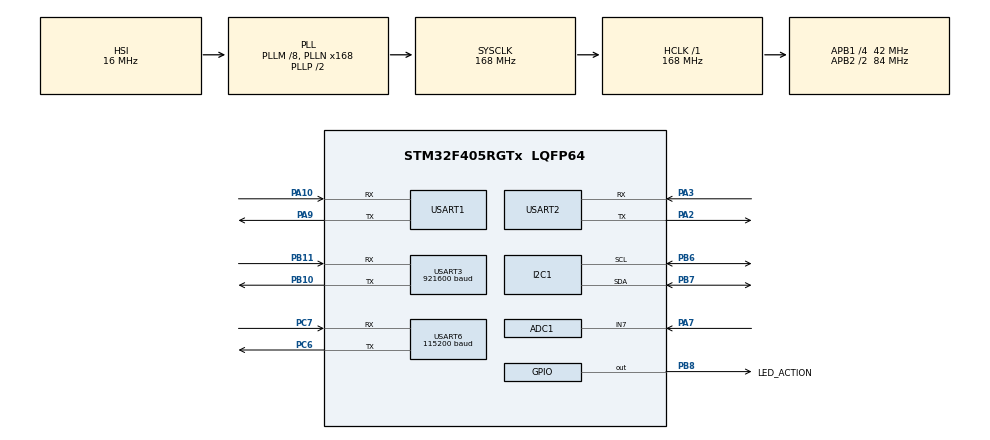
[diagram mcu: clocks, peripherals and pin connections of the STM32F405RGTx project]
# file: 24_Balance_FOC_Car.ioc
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ADC1.Channel-0\#ChannelRegularConversion=ADC_CHANNEL_7
ADC1.NbrOfConversionFlag=1
ADC1.Rank-0\#ChannelRegularConversion=1
ADC1.SamplingTime-0\#ChannelRegularConversion=ADC_SAMPLETIME_3CYCLES
ADC1.master=1
FREERTOS.Tasks01=PID_Ctrl_Task,25,128,PIDCtrl_Task,Default,NULL,Dynamic,NULL,NULL;UART_Rx_Task,24,128,UARTRx_Task,Default,NULL,Dynamic,NULL,NULL;Detect_Task,24,128,DetectTask,Default,NULL,Dynamic,NULL,NULL;LED_Task,24,128,LEDTask,Default,NULL,Dynamic,NULL,NULL
FREERTOS.configENABLE_FPU=1
FREERTOS.configTOTAL_HEAP_SIZE=15360
FREERTOS.configUSE_NEWLIB_REENTRANT=0
Mcu.Family=STM32F4
Mcu.Name=STM32F405RGTx
Mcu.Package=LQFP64
NVIC.PriorityGroup=NVIC_PRIORITYGROUP_4
NVIC.TIM2_IRQn=true\:5\:0\:false\:false\:true\:true\:true\:true\:true
NVIC.TIM4_IRQn=true\:15\:0\:false\:false\:true\:false\:false\:true\:true
NVIC.TimeBase=TIM4_IRQn
NVIC.TimeBaseIP=TIM4
NVIC.USART1_IRQn=true\:5\:0\:false\:false\:true\:true\:true\:true\:true
NVIC.USART2_IRQn=true\:5\:0\:false\:false\:true\:true\:true\:true\:true
NVIC.USART3_IRQn=true\:5\:0\:false\:false\:true\:true\:true\:true\:true
NVIC.USART6_IRQn=true\:5\:0\:false\:false\:true\:true\:true\:true\:true
PA10.Mode=Asynchronous
PA10.Signal=USART1_RX
PA13.Mode=Serial_Wire
PA13.Signal=SYS_JTMS-SWDIO
PA14.Mode=Serial_Wire
PA14.Signal=SYS_JTCK-SWCLK
PA2.Mode=Asynchronous
PA2.Signal=USART2_TX
PA3.Mode=Asynchronous
PA3.Signal=USART2_RX
PA7.Signal=ADCx_IN7
PA9.Mode=Asynchronous
PA9.Signal=USART1_TX
PB10.Mode=Asynchronous
PB10.Signal=USART3_TX
PB11.Mode=Asynchronous
PB11.Signal=USART3_RX
PB6.Mode=I2C
PB6.Signal=I2C1_SCL
PB7.Mode=I2C
PB7.Signal=I2C1_SDA
PB8.GPIO_Label=LED_ACTION
PB8.PinState=GPIO_PIN_RESET
PB8.Signal=GPIO_Output
PC6.Mode=Asynchronous
PC6.Signal=USART6_TX
PC7.Mode=Asynchronous
PC7.Signal=USART6_RX
PH0-OSC_IN.Mode=HSE-External-Oscillator
PH0-OSC_IN.Signal=RCC_OSC_IN
PH1-OSC_OUT.Mode=HSE-External-Oscillator
PH1-OSC_OUT.Signal=RCC_OSC_OUT
ProjectManager.HeapSize=0x200
ProjectManager.StackSize=0x400
ProjectManager.TargetToolchain=MDK-ARM V5
RCC.48MHZClocksFreq_Value=84000000
RCC.AHBFreq_Value=168000000
RCC.APB1CLKDivider=RCC_HCLK_DIV4
RCC.APB1Freq_Value=42000000
RCC.APB1TimFreq_Value=84000000
RCC.APB2CLKDivider=RCC_HCLK_DIV2
RCC.APB2Freq_Value=84000000
RCC.APB2TimFreq_Value=168000000
RCC.CortexFreq_Value=168000000
RCC.HCLKFreq_Value=168000000
RCC.HSE_VALUE=8000000
RCC.HSI_VALUE=16000000
RCC.LSE_VALUE=32768
RCC.PLLM=8
RCC.PLLN=168
RCC.SYSCLKFreq_VALUE=168000000
RCC.SYSCLKSource=RCC_SYSCLKSOURCE_PLLCLK
RCC.VCOOutputFreq_Value=336000000
SH.ADCx_IN7.0=ADC1_IN7,IN7
TIM2.Period=1000-1
TIM2.Prescaler=8400-1
USART1.VirtualMode=VM_ASYNC
USART2.VirtualMode=VM_ASYNC
USART3.BaudRate=921600
USART3.VirtualMode=VM_ASYNC
USART6.BaudRate=115200
USART6.VirtualMode=VM_ASYNC
VP_FREERTOS_VS_CMSIS_V2.Mode=CMSIS_V2
VP_SYS_VS_tim4.Mode=TIM4
VP_TIM2_VS_ClockSourceINT.Mode=Internal
board=custom

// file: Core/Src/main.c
/* USER CODE BEGIN Header */
/**
 ******************************************************************************
 * @file           : main.c
 * @brief          : Main program body
 ******************************************************************************
 * @attention
 *
 * Copyright (c) 2024 STMicroelectronics.
 * All rights reserved.
 *
 * This software is licensed under terms that can be found in the LICENSE file
 * in the root directory of this software component.
 * If no LICENSE file comes with this software, it is provided AS-IS.
 *
 ******************************************************************************
 */
/* USER CODE END Header */
#include "main.h"
#include "cmsis_os.h"
#include "adc.h"
#include "i2c.h"
#include "tim.h"
#include "usart.h"
#include "gpio.h"

/* USER CODE BEGIN Includes */
#ifdef CLION_COMPILER_FLAG
#include "retarget.h"
#endif

#include "app_control.h"
#include "app_bluetooth.h"
#include "bsp_battry.h"
#include "bsp_bluetooth.h"
#include "bsp_dmp.h"
#include "bsp_esp32.h"
#include "bsp_hmc5883.h"
#include "bsp_mpu6050.h"
#include "bsp_x3.h"
#include "stdio.h"

/* USER CODE END Includes */

/* USER CODE BEGIN PV */
SYSTEM_TYPE_DEF sys;

uint8_t uart1_rxdat = 0;
uint8_t uart1_rxdata[UART_BUF_MAX] = {0};
uint8_t uart1_rxpointer = 0;

uint8_t uart2_rxdat = 0;
uint8_t uart2_rxdata[UART_BUF_MAX] = {0};
uint8_t uart2_rxpointer = 0;

uint8_t uart3_rxdat;
uint8_t uart3_rxdata[UART_BUF_MAX] = {0};
uint8_t uart3_rxpointer = 0;

uint8_t uart6_rxdat = 0;
uint8_t uart6_rxdata[UART_BUF_MAX] = {0};
uint8_t uart6_rxpointer = 0;

/* USER CODE END PV */

void SystemClock_Config(void);
void MX_FREERTOS_Init(void);

/* USER CODE BEGIN 0 */
void System_Init(void);
/* USER CODE END 0 */

int main(void)
{

  /* MCU Configuration--------------------------------------------------------*/

  /* Reset of all peripherals, Initializes the Flash interface and the Systick. */
  HAL_Init();

  /* Configure the system clock */
  SystemClock_Config();

  /* Initialize all configured peripherals */
  MX_GPIO_Init();
  MX_I2C1_Init();
  MX_USART2_UART_Init();
  MX_USART1_UART_Init();
  MX_ADC1_Init();
  MX_USART3_UART_Init();
  MX_USART6_UART_Init();
  MX_TIM2_Init();
  /* USER CODE BEGIN 2 */

#ifdef CLION_COMPILER_FLAG
//  RetargetInit(&huart6); // �ض������׵�������
#endif

    HAL_TIM_Base_Start_IT(&htim2);
    HAL_UART_Receive_IT(&huart1, &uart1_rxdat, 1);
    HAL_UART_Receive_IT(&huart2, &uart2_rxdat, 1);
    HAL_UART_Receive_IT(&huart3, &uart3_rxdat, 1);
    HAL_UART_Receive_IT(&huart6, &uart6_rxdat, 1);
    System_Init();

    Init_HMC5883L_HAL(&hi2c1);
    MPU6050_Init();
    PID_Init();

    Set_Motor_Torque(MOTOR0,0);
    Set_Motor_Torque(MOTOR1,0);

  /* USER CODE END 2 */

  /* Init scheduler */
  osKernelInitialize();

  /* Call init function for freertos objects (in cmsis_os2.c) */
  MX_FREERTOS_Init();

  /* Start scheduler */
  osKernelStart();

  /* We should never get here as control is now taken by the scheduler */

  /* Infinite loop */
  while (1) {

  }
}

void SystemClock_Config(void)
{
  RCC_OscInitTypeDef RCC_OscInitStruct = {0};
  RCC_ClkInitTypeDef RCC_ClkInitStruct = {0};

  /** Configure the main internal regulator output voltage
  */
  __HAL_RCC_PWR_CLK_ENABLE();
  __HAL_PWR_VOLTAGESCALING_CONFIG(PWR_REGULATOR_VOLTAGE_SCALE1);

  /** Initializes the RCC Oscillators according to the specified parameters
  * in the RCC_OscInitTypeDef structure.
  */
  RCC_OscInitStruct.OscillatorType = RCC_OSCILLATORTYPE_HSI;
  RCC_OscInitStruct.HSIState = RCC_HSI_ON;
  RCC_OscInitStruct.HSICalibrationValue = RCC_HSICALIBRATION_DEFAULT;
  RCC_OscInitStruct.PLL.PLLState = RCC_PLL_ON;
  RCC_OscInitStruct.PLL.PLLSource = RCC_PLLSOURCE_HSI;
  RCC_OscInitStruct.PLL.PLLM = 8;
  RCC_OscInitStruct.PLL.PLLN = 168;
  RCC_OscInitStruct.PLL.PLLP = RCC_PLLP_DIV2;
  RCC_OscInitStruct.PLL.PLLQ = 4;
  if (HAL_RCC_OscConfig(&RCC_OscInitStruct) != HAL_OK)
  {
    Error_Handler();
  }

  /** Initializes the CPU, AHB and APB buses clocks
  */
  RCC_ClkInitStruct.ClockType = RCC_CLOCKTYPE_HCLK|RCC_CLOCKTYPE_SYSCLK
                              |RCC_CLOCKTYPE_PCLK1|RCC_CLOCKTYPE_PCLK2;
  RCC_ClkInitStruct.SYSCLKSource = RCC_SYSCLKSOURCE_PLLCLK;
  RCC_ClkInitStruct.AHBCLKDivider = RCC_SYSCLK_DIV1;
  RCC_ClkInitStruct.APB1CLKDivider = RCC_HCLK_DIV4;
  RCC_ClkInitStruct.APB2CLKDivider = RCC_HCLK_DIV2;

  if (HAL_RCC_ClockConfig(&RCC_ClkInitStruct, FLASH_LATENCY_5) != HAL_OK)
  {
    Error_Handler();
  }
}

/* USER CODE BEGIN 4 */

int fputc(int c, FILE * stream)
{
  HAL_UART_Transmit(&huart6, (uint8_t*)&c,1,10);
  return 1;
}

/* USER CODE END 4 */

void HAL_TIM_PeriodElapsedCallback(TIM_HandleTypeDef *htim)
{
  if (htim->Instance == TIM4) {
    HAL_IncTick();
  }
}

void Error_Handler(void)
{
  __disable_irq();
  while (1) {
  }
}

#ifdef  USE_FULL_ASSERT
/**
  * @brief  Reports the name of the source file and the source line number
  *         where the assert_param error has occurred.
  * @param  file: pointer to the source file name
  * @param  line: assert_param error line source number
  * @retval None
  */
void assert_failed(uint8_t *file, uint32_t line)
{
  /* USER CODE BEGIN 6 */
  /* User can add his own implementation to report the file name and line
     number, ex: printf("Wrong parameters value: file %s on line %d\r\n", file,
     line) */
  /* USER CODE END 6 */
}
#endif /* USE_FULL_ASSERT */

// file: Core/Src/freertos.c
/* USER CODE BEGIN Header */
/**
 ******************************************************************************
 * File Name          : freertos.c
 * Description        : Code for freertos applications
 ******************************************************************************
 * @attention
 *
 * Copyright (c) 2024 STMicroelectronics.
 * All rights reserved.
 *
 * This software is licensed under terms that can be found in the LICENSE file
 * in the root directory of this software component.
 * If no LICENSE file comes with this software, it is provided AS-IS.
 *
 ******************************************************************************
 */
/* USER CODE END Header */

#include "FreeRTOS.h"
#include "task.h"
#include "main.h"
#include "cmsis_os.h"

/* USER CODE BEGIN Includes */
#include "app_control.h"
#include "app_bluetooth.h"
#include "bsp_battry.h"
#include "bsp_dmp.h"
#include "bsp_esp32.h"
#include "bsp_hmc5883.h"
#include "bsp_mpu6050.h"
#include "bsp_bluetooth.h"
#include "bsp_x3.h"

#include "stdio.h"
/* USER CODE END Includes */

/* USER CODE BEGIN PD */

#define VELOCITY_DEBUG    // 不等待电机自检完成
#define YAW_ONLY_USE_MPU    // 只使用MPU6050获取Yaw角

/* USER CODE END PD */

/* Definitions for PID_Ctrl_Task */
osThreadId_t PID_Ctrl_TaskHandle;
const osThreadAttr_t PID_Ctrl_Task_attributes = {
  .name = "PID_Ctrl_Task",
  .stack_size = 128 * 4,
  .priority = (osPriority_t) osPriorityNormal1,
};
/* Definitions for UART_Rx_Task */
osThreadId_t UART_Rx_TaskHandle;
const osThreadAttr_t UART_Rx_Task_attributes = {
  .name = "UART_Rx_Task",
  .stack_size = 128 * 4,
  .priority = (osPriority_t) osPriorityNormal,
};
/* Definitions for Detect_Task */
osThreadId_t Detect_TaskHandle;
const osThreadAttr_t Detect_Task_attributes = {
  .name = "Detect_Task",
  .stack_size = 128 * 4,
  .priority = (osPriority_t) osPriorityNormal,
};
/* Definitions for LED_Task */
osThreadId_t LED_TaskHandle;
const osThreadAttr_t LED_Task_attributes = {
  .name = "LED_Task",
  .stack_size = 128 * 4,
  .priority = (osPriority_t) osPriorityNormal,
};

void PIDCtrl_Task(void *argument);
void UARTRx_Task(void *argument);
void DetectTask(void *argument);
void LEDTask(void *argument);

void MX_FREERTOS_Init(void); /* (MISRA C 2004 rule 8.1) */

void MX_FREERTOS_Init(void) {

  /* Create the thread(s) */
  /* creation of PID_Ctrl_Task */
  PID_Ctrl_TaskHandle = osThreadNew(PIDCtrl_Task, NULL, &PID_Ctrl_Task_attributes);

  /* creation of UART_Rx_Task */
  UART_Rx_TaskHandle = osThreadNew(UARTRx_Task, NULL, &UART_Rx_Task_attributes);

  /* creation of Detect_Task */
  Detect_TaskHandle = osThreadNew(DetectTask, NULL, &Detect_Task_attributes);

  /* creation of LED_Task */
  LED_TaskHandle = osThreadNew(LEDTask, NULL, &LED_Task_attributes);

}

void PIDCtrl_Task(void *argument)
{
  /* USER CODE BEGIN PIDCtrl_Task */
  /* Infinite loop */

    while(sys.Motor_Ready==0){
        printf("Waiting for Motor Self-Detect...\n");
        vTaskDelay(100);
    }

    for(;;)
    {
        System_Get_Pose();
        System_Get_Yaw();
        UART2_ESP32_Rx_Update();
        if(sys.falling_flag || sys.pick_up_flag){
            Set_Motor_Torque(MOTOR0, 0);
            Set_Motor_Torque(MOTOR1, 0);
        }
        else{
            PID_Control_Update();
        }

        vTaskDelay(1);
    }
  /* USER CODE END PIDCtrl_Task */
}

void UARTRx_Task(void *argument)
{
  /* USER CODE BEGIN UARTRx_Task */
  /* Infinite loop */
  for(;;)
  {
    UART1_BLE_Rx_Update();
    //UART2_ESP32_Rx_Update();
    UART3_X3_Rx_Update();
    UART6_DAPLink_Rx_Update();
    Bluetooth_Cmd_Pro();

    vTaskDelay(1);
  }
  /* USER CODE END UARTRx_Task */
}

void DetectTask(void *argument)
{
  /* USER CODE BEGIN DetectTask */
  /* Infinite loop */
  for(;;)
  {
      System_Get_Battry();
      Pick_Up_Detect(sys.V0-sys.V1,sys.Pitch);
      Falling_Detect(sys.Pitch);

      vTaskDelay(1);
  }
  /* USER CODE END DetectTask */
}

void LEDTask(void *argument)
{
  /* USER CODE BEGIN LEDTask */
  /* Infinite loop */
    uint8_t i;
  for(;;)
  {
        if(sys.falling_flag){
              /* 闪烁一次：检测到倒地 */
              HAL_GPIO_WritePin(LED_ACTION_GPIO_Port, LED_ACTION_Pin, GPIO_PIN_RESET);
              vTaskDelay(200);
              HAL_GPIO_WritePin(LED_ACTION_GPIO_Port, LED_ACTION_Pin, GPIO_PIN_SET);
              vTaskDelay(1000);
          }
          else if(sys.pick_up_flag){
              /* 闪烁三次：检测到拿起 */
              for(i=0;i<3;i++){
                  HAL_GPIO_WritePin(LED_ACTION_GPIO_Port, LED_ACTION_Pin, GPIO_PIN_RESET);
                  vTaskDelay(200);
                  HAL_GPIO_WritePin(LED_ACTION_GPIO_Port, LED_ACTION_Pin, GPIO_PIN_SET);
                  vTaskDelay(200);
              }
              vTaskDelay(1000);
          }
          else if(sys.bat<11.5f){
              /* 熄灭：检测到电池电压过低 */
              HAL_GPIO_WritePin(LED_ACTION_GPIO_Port, LED_ACTION_Pin, GPIO_PIN_SET);
          }
          else{
              /* 一直闪烁：正常*/
              HAL_GPIO_TogglePin(LED_ACTION_GPIO_Port, LED_ACTION_Pin);
              vTaskDelay(100);
          }

  }
  /* USER CODE END LEDTask */
}

/* USER CODE BEGIN Application */

void System_Init(void)
{
    sys.bat = 0;
    sys.V0 = 0;
    sys.V1 = 0;
    sys.low_bat_warning = 0;  // 低压警告
    sys.Set_V0 = 0;
    sys.Set_V1 = 0;
    sys.X3_Ready = 0;
    #ifdef VELOCITY_DEBUG
    sys.Motor_Ready = 1;
    #else
    sys.Motor_Ready = 0;
    #endif

    sys.MPU_Ready = 0;  // MPU初始化完成
    sys.HMC_Ready = 0;  // HMC磁力计初始化完成
    sys.pick_up_flag = 0;           // 拿起检测标志位
    sys.falling_flag = 0;           // 倒地检测标志位
    sys.turn_sta = ANGLE_CTRL;
    sys.veloc_sta = LOCATION_CTRL;    // 位置闭环模式
    sys.S_cur = (sys.S0 - sys.S1)/2;  // 记录当前小车的位置
    sys.yolo_flag = 0;
    /* 蓝牙初始状态 */
    bt.cmd = Self_Ctrl;
    bt.rx_flag = 0;
}

void System_Get_Pose(void)
{
  MPU6050_Get_Pose();
  MPU6050_Read_Gyro();
  MPU6050_Read_Accel();
  sys.Ax = mpu.Accel_X;
  sys.Ay = mpu.Accel_Y;
  sys.Az = mpu.Accel_Z;
  sys.Gx = mpu.Gyro_X;
  sys.Gy = mpu.Gyro_Y;
  sys.Gz = mpu.Gyro_Z;
  sys.Pitch = mpu.Pitch;
  sys.Roll = mpu.Roll;
}

void System_Get_Yaw(void)
{
#ifndef YAW_ONLY_USE_MPU
    static float mag_buffer[MAG_BUF_LEN] = {0};
    static float mpu_buffer[MAG_BUF_LEN] = {0};
    static uint8_t buf_pointer = 0;
    float a = 0.9f;

    HMC5883_Get_Yaw(&hi2c1, &mag);
    mag_buffer[buf_pointer] = mag.angle;
    mpu_buffer[buf_pointer] = mpu.Yaw;
    buf_pointer++;
    if(buf_pointer>= MAG_BUF_LEN){
        float mag_yaw = Median_Filter(mag_buffer, MAG_BUF_LEN);
        float mpu_yaw = Average_Filter(mpu_buffer, MAG_BUF_LEN);
        sys.Yaw = a*(mpu_yaw) + (1-a)*(mag_yaw + sys.Yaw_offset);
        //printf("%.1f,%.1f,%.1f,%.1f\n",sys.Yaw, mpu_yaw, mag.angle-180, mag_yaw+sys.Yaw_offset);
        buf_pointer = 0;
    }
#else
    static float mpu_buffer[MAG_BUF_LEN] = {0};
    static uint8_t buf_pointer = 0;
    mpu_buffer[buf_pointer++] = mpu.Yaw;
    if(buf_pointer>= MAG_BUF_LEN){
        sys.Yaw = Average_Filter(mpu_buffer, MAG_BUF_LEN);
        buf_pointer = 0;
    }

#endif
}

void System_Get_Battry(void)
{
  Battry_GetVoltage();
}

/* 初始校准Yaw角 */
void System_Calibration_Yaw(void)
{
    float mag_buffer[10] = {0};
    uint8_t cnt = 0;
    if(sys.MPU_Ready==1 && sys.HMC_Ready==1){
        do{
            HMC5883_Get_Yaw(&hi2c1, &mag);
            mag_buffer[cnt++] = mag.angle;
            if(cnt>=10){
                MPU6050_Get_Pose();
                HAL_Delay(1);
                float mag_yaw = Median_Filter(mag_buffer, 10);
                sys.Yaw_offset = mpu.Yaw - mag_yaw - 180.0f;
                //printf("%.1f,%.1f,%.1f\n",mpu.Yaw, mag_yaw,sys.Yaw_offset);
                break;
            } else
                HAL_Delay(2);
        }while(cnt<10);
    }
    else
        printf("Error\n");
}

/* USER CODE END Application */
